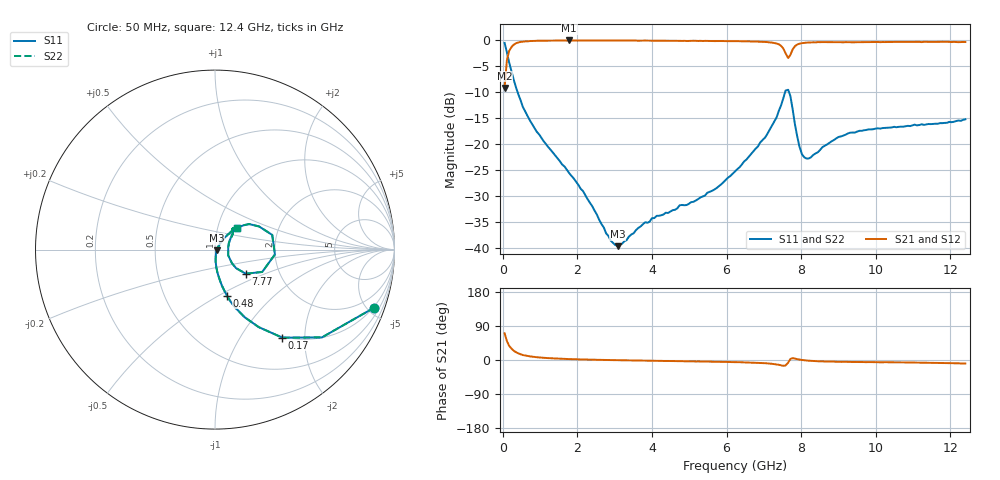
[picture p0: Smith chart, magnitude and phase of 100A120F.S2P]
!  American Technical Ceramics  Date:  3/13/98
!  One Norden Lane
!  Huntington Station,  NY.  11746-2102
!  Tel:  (516) 547-5700  Fax:  (516) 547-5748
!  Part Number  100A120F
!  Description: Porcelain, High Q, Low ESR
!  Application: Bypass, Coupling, Timing, Feedback
!  Tuning, Impedance Match, Blocking
# GHZ S DB R 50
! Freq  |S11|  S11 Ph  |S21|  S21 Ph  |S12|  S12 Ph  |S22|  S22 Ph
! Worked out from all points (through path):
!   201 points, 50 MHz to 12.4 GHz, reference 50 ohm
!   highest |S21| = -0.01 dB at 1.78 GHz (marker M1); lowest = -9.1 dB at 50 MHz (marker M2)
!   group delay of S21, straight-line fit = 4.47 ps
!   lowest |S11| = -39.6 dB at 3.08 GHz (marker M3), VSWR 1.02, Z = 51 - j0.347 ohm
!   |S11| at or under -10 dB: 400.2 MHz to 7.566 GHz (7.166 GHz wide, 180 % of centre); 7.675 GHz to end of sweep
!   |S22| runs from -39.6 to -0.5 dB; largest |S21 - S12| = 0
!   S11 on the Smith chart (normalised r, x): 50 MHz: 0.92, -5.54; 170 MHz: 0.98, -1.55; 480 MHz: 0.99, -0.55; 7.77 GHz: 1.35, -0.38; 12.4 GHz: 1.24, +0.31
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0.05  -0.49 -20.0  -9.14 70.6  -9.14 70.6  -0.49 -20.0
0.11  -2.26 -39.4  -3.90 50.3  -3.90 50.3  -2.26 -39.4
0.17  -4.19 -52.6  -2.05 37.6  -2.05 37.6  -4.19 -52.6
0.3  -7.72 -66.4  -0.80 24.0  -0.80 24.0  -7.72 -66.4
0.48  -11.54 -75.6  -0.29 15.2  -0.29 15.2  -11.54 -75.6
0.91  -17.56 -83.5  -0.07 7.4  -0.07 7.4  -17.56 -83.5
1.78  -25.53 -86.3  -0.01 2.4  -0.01 2.4  -25.53 -86.3
2.15  -28.98 -83.1  -0.03 1.4  -0.03 1.4  -28.98 -83.1
2.77  -37.13 -58.4  -0.02 -0.1  -0.02 -0.1  -37.13 -58.4
3.08  -39.60 -18.9  -0.04 -0.7  -0.04 -0.7  -39.60 -18.9
4.19  -33.75 34.2  -0.06 -2.3  -0.06 -2.3  -33.75 34.2
5.42  -29.87 45.4  -0.09 -4.1  -0.09 -4.1  -29.87 45.4
6.23  -25.14 51.6  -0.15 -5.6  -0.15 -5.6  -25.14 51.6
7.03  -18.71 48.6  -0.29 -8.4  -0.29 -8.4  -18.71 48.6
7.52  -11.13 27.7  -1.56 -15.3  -1.56 -15.3  -11.13 27.7
7.65  -9.50 -4.6  -3.39 -6.8  -3.39 -6.8  -9.50 -4.6
7.77  -13.24 -38.1  -1.73 5.0  -1.73 5.0  -13.24 -38.1
8.02  -21.92 -23.6  -0.53 0.0  -0.53 0.0  -21.92 -23.6
8.32  -22.05 16.8  -0.37 -2.5  -0.37 -2.5  -22.05 16.8
9.25  -17.91 40.4  -0.34 -5.1  -0.34 -5.1  -17.91 40.4
10.36  -16.79 47.2  -0.30 -6.0  -0.30 -6.0  -16.79 47.2
12.4  -15.18 44.8  -0.31 -9.3  -0.31 -9.3  -15.18 44.8
